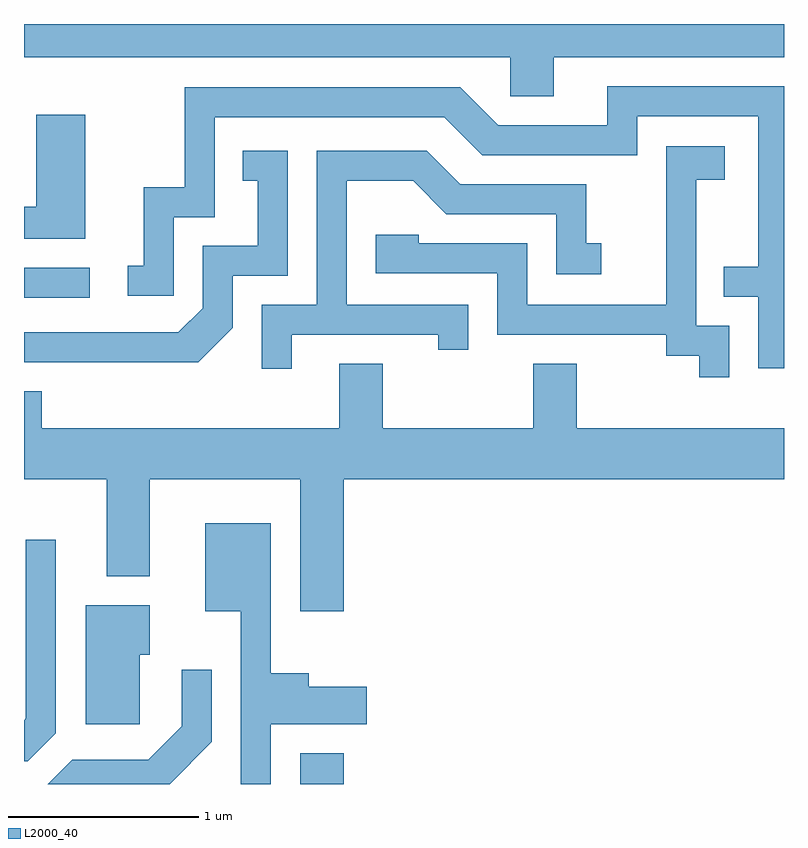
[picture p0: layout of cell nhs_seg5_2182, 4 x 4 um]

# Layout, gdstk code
import gdstk
lib = gdstk.Library(unit=1e-6, precision=1e-09)
def R(c, l, rs):  # rectangles x0, y0, x1, y1
    for r in rs: c.add(gdstk.rectangle(r[:2], r[2:], *l))
def P(c, l, *ps):  # polygons
    for p in ps: c.add(gdstk.Polygon(p, *l))
L2000_40 = (2000, 40)

nhs_seg5_2182 = lib.new_cell('nhs_seg5_2182')
R(nhs_seg5_2182, L2000_40, [(251.066,1464.072,251.294,1464.234), (249.611,1466.631,249.958,1466.789)])
P(nhs_seg5_2182, L2000_40, [(252.399,1467.896),(253.611,1467.896),(253.611,1468.072),(249.611,1468.072),(249.611,1467.896),(252.171,1467.896),(252.171,1467.691),(252.399,1467.691)],
  [(253.611,1467.744),(252.681,1467.744),(252.681,1467.539),(252.107,1467.539),(251.907,1467.739),(250.456,1467.739),(250.456,1467.214),(250.241,1467.214),(250.241,1466.799),(250.158,1466.799),(250.158,1466.641),(250.399,1466.641),(250.399,1467.056),(250.614,1467.056),(250.614,1467.581),(251.824,1467.581),(252.024,1467.381),(252.839,1467.381),(252.839,1467.586),(253.476,1467.586),(253.476,1466.794),(253.293,1466.794),(253.293,1466.636),(253.476,1466.636),(253.476,1466.261),(253.611,1466.261)],
  [(249.934,1467.594),(249.676,1467.594),(249.676,1467.109),(249.611,1467.109),(249.611,1466.941),(249.934,1466.941)],
  [(253.324,1466.484),(253.149,1466.484),(253.149,1467.251),(253.299,1467.251),(253.299,1467.429),(252.991,1467.429),(252.991,1466.594),(252.259,1466.594),(252.259,1466.919),(251.689,1466.919),(251.689,1466.964),(251.461,1466.964),(251.461,1466.761),(252.101,1466.761),(252.101,1466.436),(252.991,1466.436),(252.991,1466.326),(253.166,1466.326),(253.166,1466.213),(253.324,1466.213)],
  [(251.019,1466.436),(251.791,1466.436),(251.791,1466.358),(251.949,1466.358),(251.949,1466.594),(251.309,1466.594),(251.309,1467.246),(251.659,1467.246),(251.834,1467.071),(252.411,1467.071),(252.411,1466.756),(252.648,1466.756),(252.648,1466.919),(252.569,1466.919),(252.569,1467.229),(251.907,1467.229),(251.732,1467.404),(251.151,1467.404),(251.151,1466.594),(250.861,1466.594),(250.861,1466.258),(251.019,1466.258)],
  [(250.709,1466.474),(250.709,1466.746),(250.999,1466.746),(250.999,1467.404),(250.763,1467.404),(250.763,1467.246),(250.841,1467.246),(250.841,1466.904),(250.551,1466.904),(250.551,1466.577),(250.424,1466.449),(249.611,1466.449),(249.611,1466.291),(250.527,1466.291)],
  [(251.294,1465.676),(253.611,1465.676),(253.611,1465.944),(252.519,1465.944),(252.519,1466.284),(252.291,1466.284),(252.291,1465.944),(251.499,1465.944),(251.499,1466.284),(251.271,1466.284),(251.271,1465.944),(249.704,1465.944),(249.704,1466.139),(249.611,1466.139),(249.611,1465.676),(250.046,1465.676),(250.046,1465.166),(250.274,1465.166),(250.274,1465.676),(251.066,1465.676),(251.066,1464.981),(251.294,1464.981)],
  [(250.909,1464.386),(251.414,1464.386),(251.414,1464.584),(251.109,1464.584),(251.109,1464.654),(250.909,1464.654),(250.909,1465.444),(250.566,1465.444),(250.566,1464.981),(250.751,1464.981),(250.751,1464.072),(250.909,1464.072)],
  [(249.779,1464.339),(249.779,1465.358),(249.621,1465.358),(249.621,1464.417),(249.611,1464.407),(249.611,1464.191),(249.632,1464.191)],
  [(250.219,1464.751),(250.274,1464.751),(250.274,1465.014),(249.936,1465.014),(249.936,1464.386),(250.219,1464.386)],
  [(250.599,1464.294),(250.599,1464.673),(250.441,1464.673),(250.441,1464.377),(250.264,1464.199),(249.864,1464.199),(249.737,1464.072),(250.378,1464.072)])

lib.write_gds('nhs_seg5_2182.gds')
